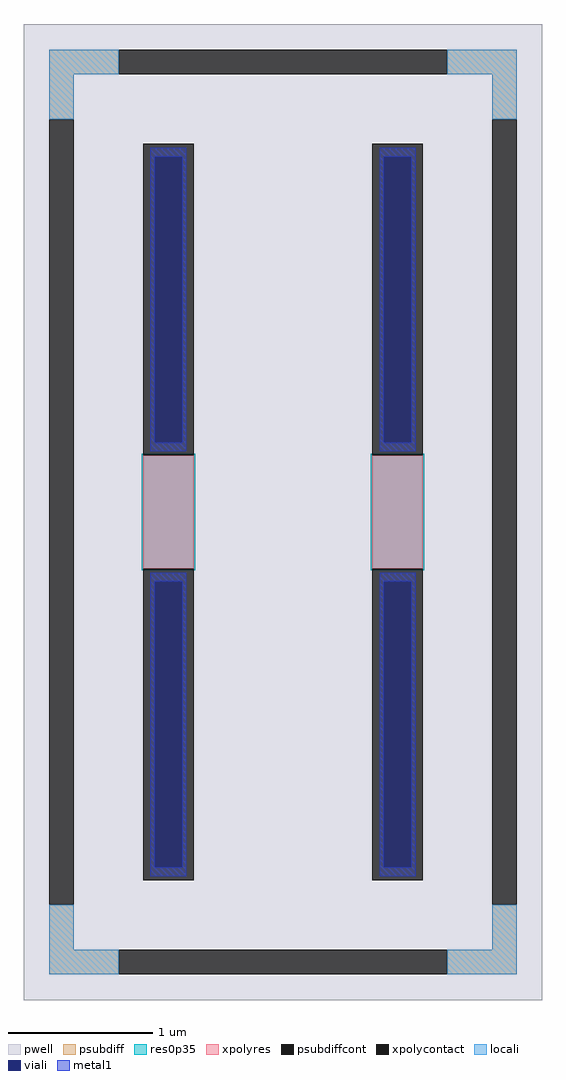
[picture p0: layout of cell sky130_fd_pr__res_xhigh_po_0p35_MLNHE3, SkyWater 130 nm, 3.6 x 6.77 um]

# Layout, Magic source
magic
tech sky130A
magscale 1 2
<< pwell >>
rect -360 -677 360 677
<< psubdiff >>
rect -324 607 -228 641
rect 228 607 324 641
rect -324 545 -290 607
rect 290 545 324 607
rect -324 -607 -290 -545
rect 290 -607 324 -545
rect -324 -641 -228 -607
rect 228 -641 324 -607
<< psubdiffcont >>
rect -228 607 228 641
rect -324 -545 -290 545
rect 290 -545 324 545
rect -228 -641 228 -607
<< xpolycontact >>
rect -194 79 -124 511
rect -194 -511 -124 -79
rect 124 79 194 511
rect 124 -511 194 -79
<< xpolyres >>
rect -194 -79 -124 79
rect 124 -79 194 79
<< locali >>
rect -324 607 -228 641
rect 228 607 324 641
rect -324 545 -290 607
rect 290 545 324 607
rect -324 -607 -290 -545
rect 290 -607 324 -545
rect -324 -641 -228 -607
rect 228 -641 324 -607
<< viali >>
rect -178 96 -140 493
rect 140 96 178 493
rect -178 -493 -140 -96
rect 140 -493 178 -96
<< metal1 >>
rect -184 493 -134 505
rect -184 96 -178 493
rect -140 96 -134 493
rect -184 84 -134 96
rect 134 493 184 505
rect 134 96 140 493
rect 178 96 184 493
rect 134 84 184 96
rect -184 -96 -134 -84
rect -184 -493 -178 -96
rect -140 -493 -134 -96
rect -184 -505 -134 -493
rect 134 -96 184 -84
rect 134 -493 140 -96
rect 178 -493 184 -96
rect 134 -505 184 -493
<< res0p35 >>
rect -196 -81 -122 81
rect 122 -81 196 81
<< properties >>
string gencell sky130_fd_pr__res_xhigh_po_0p35
string FIXED_BBOX -307 -624 307 624
string parameters w 0.350 l 0.79 m 1 nx 2 wmin 0.350 lmin 0.50 rho 2000 val 5.2k dummy 0 dw 0.0 term 120 sterm 0.0 caplen 0 wmax 0.350 guard 1 glc 1 grc 1 gtc 1 gbc 1 compatible {sky130_fd_pr__res_xhigh_po_0p35  sky130_fd_pr__res_xhigh_po_0p69 sky130_fd_pr__res_xhigh_po_1p41  sky130_fd_pr__res_xhigh_po_2p85 sky130_fd_pr__res_xhigh_po_5p73} full_metal 1 vias 1 viagb 0 viagt 0 viagl 0 viagr 0
string library sky130
<< end >>
